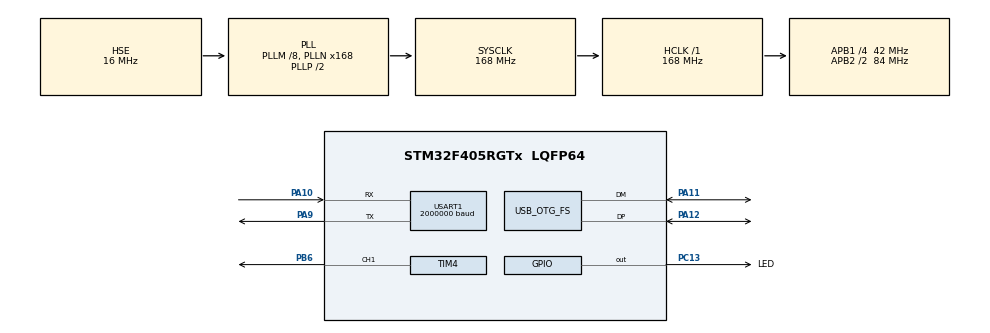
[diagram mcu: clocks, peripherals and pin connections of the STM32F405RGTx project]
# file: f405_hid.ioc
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Dma.Request0=TIM4_CH1
Dma.TIM4_CH1.0.Direction=DMA_MEMORY_TO_PERIPH
Dma.TIM4_CH1.0.FIFOMode=DMA_FIFOMODE_DISABLE
Dma.TIM4_CH1.0.Instance=DMA1_Stream0
Dma.TIM4_CH1.0.MemDataAlignment=DMA_MDATAALIGN_HALFWORD
Dma.TIM4_CH1.0.MemInc=DMA_MINC_ENABLE
Dma.TIM4_CH1.0.Mode=DMA_CIRCULAR
Dma.TIM4_CH1.0.PeriphDataAlignment=DMA_PDATAALIGN_HALFWORD
Dma.TIM4_CH1.0.PeriphInc=DMA_PINC_DISABLE
Dma.TIM4_CH1.0.Priority=DMA_PRIORITY_HIGH
Mcu.Family=STM32F4
Mcu.Name=STM32F405RGTx
Mcu.Package=LQFP64
Mcu.UserConstants=LED_CNT,104
NVIC.DMA1_Stream0_IRQn=true\:0\:0\:false\:false\:true\:false\:true\:true
NVIC.OTG_FS_IRQn=true\:1\:0\:true\:false\:true\:false\:true\:true
NVIC.PriorityGroup=NVIC_PRIORITYGROUP_4
PA10.Mode=Asynchronous
PA10.Signal=USART1_RX
PA11.Mode=Device_Only
PA11.Signal=USB_OTG_FS_DM
PA12.Mode=Device_Only
PA12.Signal=USB_OTG_FS_DP
PA13.Mode=Trace_Asynchronous_SW
PA13.Signal=SYS_JTMS-SWDIO
PA14.Mode=Trace_Asynchronous_SW
PA14.Signal=SYS_JTCK-SWCLK
PA9.Mode=Asynchronous
PA9.Signal=USART1_TX
PB3.Mode=Trace_Asynchronous_SW
PB3.Signal=SYS_JTDO-SWO
PB6.Signal=S_TIM4_CH1
PC13-ANTI_TAMP.GPIO_Label=LED
PC13-ANTI_TAMP.GPIO_ModeDefaultOutputPP=GPIO_MODE_OUTPUT_OD
PC13-ANTI_TAMP.GPIO_PuPd=GPIO_NOPULL
PC13-ANTI_TAMP.PinState=GPIO_PIN_SET
PC13-ANTI_TAMP.Signal=GPIO_Output
PH0-OSC_IN.Mode=HSE-External-Oscillator
PH0-OSC_IN.Signal=RCC_OSC_IN
PH1-OSC_OUT.Mode=HSE-External-Oscillator
PH1-OSC_OUT.Signal=RCC_OSC_OUT
ProjectManager.HeapSize=0x200
ProjectManager.StackSize=0x400
ProjectManager.TargetToolchain=STM32CubeIDE
RCC.48MHZClocksFreq_Value=48000000
RCC.AHBFreq_Value=168000000
RCC.APB1CLKDivider=RCC_HCLK_DIV4
RCC.APB1Freq_Value=42000000
RCC.APB1TimFreq_Value=84000000
RCC.APB2CLKDivider=RCC_HCLK_DIV2
RCC.APB2Freq_Value=84000000
RCC.APB2TimFreq_Value=168000000
RCC.CortexFreq_Value=168000000
RCC.HCLKFreq_Value=168000000
RCC.HSE_VALUE=16000000
RCC.HSI_VALUE=16000000
RCC.LSE_VALUE=32768
RCC.PLLM=8
RCC.PLLN=168
RCC.PLLQ=7
RCC.SYSCLKFreq_VALUE=168000000
RCC.SYSCLKSource=RCC_SYSCLKSOURCE_PLLCLK
RCC.VCOOutputFreq_Value=336000000
SH.S_TIM4_CH1.0=TIM4_CH1,PWM Generation1 CH1
TIM4.Channel-PWM\ Generation1\ CH1=TIM_CHANNEL_1
TIM4.Period=LED_CNT
TIM4.TIM_MasterOutputTrigger=TIM_TRGO_UPDATE
USART1.BaudRate=2000000
USART1.VirtualMode=VM_ASYNC
USB_DEVICE.CLASS_NAME_FS=CUSTOM_HID
USB_DEVICE.MANUFACTURER_STRING-CUSTOM_HID_FS=STM32World
USB_DEVICE.PID_CUSTOMHID_FS=22124 
USB_DEVICE.PRODUCT_STRING_CUSTOMHID_FS=LEDCtl
USB_DEVICE.USBD_CUSTOMHID_OUTREPORT_BUF_SIZE-CUSTOM_HID_FS=6
USB_DEVICE.USBD_CUSTOM_HID_REPORT_DESC_SIZE-CUSTOM_HID_FS=24
USB_DEVICE.USBD_DEBUG_LEVEL-CUSTOM_HID_FS=3
USB_DEVICE.USBD_SELF_POWERED-CUSTOM_HID_FS=0
USB_DEVICE.VirtualMode-CUSTOM_HID_FS=CustomHid
USB_DEVICE.VirtualModeFS=Custom_Hid_FS
USB_OTG_FS.VirtualMode=Device_Only
VP_TIM4_VS_ClockSourceINT.Mode=Internal
VP_USB_DEVICE_VS_USB_DEVICE_CUSTOM_HID_FS.Mode=CUSTOM_HID_FS
board=custom

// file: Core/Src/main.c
/* USER CODE BEGIN Header */
/**
 ******************************************************************************
 * @file           : main.c
 * @brief          : Main program body
 ******************************************************************************
 * @attention
 *
 * Copyright (c) 2025 Lars Boegild Thomsen <lbthomsen@gmail.com>
 * All rights reserved.
 *
 * This software is licensed under terms that can be found in the LICENSE file
 * in the root directory of this software component.
 * If no LICENSE file comes with this software, it is provided AS-IS.
 *
 ******************************************************************************
 */
/* USER CODE END Header */
#include "main.h"
#include "usb_device.h"

/* USER CODE BEGIN Includes */
#include <stdio.h>
#include "usbd_customhid.h"
#include "ws2812.h"
/* USER CODE END Includes */

TIM_HandleTypeDef htim4;
DMA_HandleTypeDef hdma_tim4_ch1;

UART_HandleTypeDef huart1;

/* USER CODE BEGIN PV */
extern USBD_HandleTypeDef hUsbDeviceFS;

ws2812_handleTypeDef ws2812;

uint8_t in_report[64] = { 0 };

uint32_t *now = (uint32_t*) &in_report[0];
uint32_t *loop = (uint32_t*) &in_report[4];

//uint32_t v = 0;
/* USER CODE END PV */

void SystemClock_Config(void);
static void MX_GPIO_Init(void);
static void MX_DMA_Init(void);
static void MX_USART1_UART_Init(void);
static void MX_TIM4_Init(void);

/* USER CODE BEGIN 0 */

// Send stdout to USART1 and stderr to SWO
int _write(int fd, char *ptr, int len) {

    if (fd == 1) {
        HAL_StatusTypeDef hstatus;
        hstatus = HAL_UART_Transmit(&huart1, (uint8_t*) ptr, len, HAL_MAX_DELAY);
        if (hstatus == HAL_OK)
            return len;
        else
            return -1;
    } else if (fd == 2) {
        for (int i = 0; i < len; i++) {
            ITM_SendChar(ptr[i]); /* core_cm4.h */
        }
        return len;
    } else {
        return -1;
    }
    return -1;
}

// Done sending first half of the DMA buffer - this can now safely be updated
void HAL_TIM_PWM_PulseFinishedHalfCpltCallback(TIM_HandleTypeDef *htim) {

    if (htim->Instance == TIM4) {
        ws2812_update_buffer(&ws2812, &ws2812.dma_buffer[0]);
    }

}

// Done sending the second half of the DMA buffer - this can now be safely updated
void HAL_TIM_PWM_PulseFinishedCallback(TIM_HandleTypeDef *htim) {

    if (htim->Instance == TIM4) {
        ws2812_update_buffer(&ws2812, &ws2812.dma_buffer[BUFFER_SIZE]);
    }

}

void CUSTOM_HID_OutEvent_FS_Handler(uint8_t *buffer) {

    //printf("Recv buffer: 0x%02x, 0x%02x 0x%02x 0x%02x 0x%02x 0x%02x\n", buffer[0], buffer[1], buffer[2], buffer[3], buffer[4], buffer[5]);

    switch (buffer[0]) {

    case 1:

        uint16_t led = (uint16_t) buffer[1];
        uint8_t r = buffer[3];
        uint8_t g = buffer[4];
        uint8_t b = buffer[5];

        printf("Setting led %d to %d/%d/%d\n", led, r, g, b);

        setLedValues(&ws2812, led, r, g, b);

        break;

    case 10:

        printf("Zero all leds\n");

        zeroLedValues(&ws2812);

        break;

    default:
        printf("Unsupported function!\n");

    }

}

/* USER CODE END 0 */

int main(void)
{

    /* MCU Configuration--------------------------------------------------------*/

    /* Reset of all peripherals, Initializes the Flash interface and the Systick. */
    HAL_Init();

    /* Configure the system clock */
    SystemClock_Config();

    /* Initialize all configured peripherals */
    MX_GPIO_Init();
    MX_DMA_Init();
    MX_USART1_UART_Init();
    MX_USB_DEVICE_Init();
    MX_TIM4_Init();
    /* USER CODE BEGIN 2 */

    printf("\n\n\n-------------\nStarting USB HID Led Control\n");

    ws2812_init(&ws2812, &htim4, TIM_CHANNEL_1, 64);
    zeroLedValues(&ws2812);

    /* USER CODE END 2 */

    /* Infinite loop */
    /* USER CODE BEGIN WHILE */

    uint32_t next_blink = 500, next_tick = 1000;

    while (1) {

        *now = uwTick;

        if (*now >= next_blink) {
            HAL_GPIO_TogglePin(LED_GPIO_Port, LED_Pin);
            next_blink = *now + 500;
        }

        if (*now >= next_tick) {

            //uint8_t r = USBD_CUSTOM_HID_SendReport(&hUsbDeviceFS, (uint8_t*) in_report, 64);

            printf("Tick %lu (loop=%lu)\n", *now / 1000, *loop);

            *loop = 0;
            next_tick = *now + 1000;

        }

        ++*loop;
        /* USER CODE END WHILE */

    }
}

void SystemClock_Config(void)
{
    RCC_OscInitTypeDef RCC_OscInitStruct = { 0 };
    RCC_ClkInitTypeDef RCC_ClkInitStruct = { 0 };

    /** Configure the main internal regulator output voltage
     */
    __HAL_RCC_PWR_CLK_ENABLE();
    __HAL_PWR_VOLTAGESCALING_CONFIG(PWR_REGULATOR_VOLTAGE_SCALE1);

    /** Initializes the RCC Oscillators according to the specified parameters
     * in the RCC_OscInitTypeDef structure.
     */
    RCC_OscInitStruct.OscillatorType = RCC_OSCILLATORTYPE_HSE;
    RCC_OscInitStruct.HSEState = RCC_HSE_ON;
    RCC_OscInitStruct.PLL.PLLState = RCC_PLL_ON;
    RCC_OscInitStruct.PLL.PLLSource = RCC_PLLSOURCE_HSE;
    RCC_OscInitStruct.PLL.PLLM = 8;
    RCC_OscInitStruct.PLL.PLLN = 168;
    RCC_OscInitStruct.PLL.PLLP = RCC_PLLP_DIV2;
    RCC_OscInitStruct.PLL.PLLQ = 7;
    if (HAL_RCC_OscConfig(&RCC_OscInitStruct) != HAL_OK)
            {
        Error_Handler();
    }

    /** Initializes the CPU, AHB and APB buses clocks
     */
    RCC_ClkInitStruct.ClockType = RCC_CLOCKTYPE_HCLK | RCC_CLOCKTYPE_SYSCLK
            | RCC_CLOCKTYPE_PCLK1 | RCC_CLOCKTYPE_PCLK2;
    RCC_ClkInitStruct.SYSCLKSource = RCC_SYSCLKSOURCE_PLLCLK;
    RCC_ClkInitStruct.AHBCLKDivider = RCC_SYSCLK_DIV1;
    RCC_ClkInitStruct.APB1CLKDivider = RCC_HCLK_DIV4;
    RCC_ClkInitStruct.APB2CLKDivider = RCC_HCLK_DIV2;

    if (HAL_RCC_ClockConfig(&RCC_ClkInitStruct, FLASH_LATENCY_5) != HAL_OK)
            {
        Error_Handler();
    }
}

static void MX_TIM4_Init(void)
{

    TIM_ClockConfigTypeDef sClockSourceConfig = { 0 };
    TIM_MasterConfigTypeDef sMasterConfig = { 0 };
    TIM_OC_InitTypeDef sConfigOC = { 0 };

    htim4.Instance = TIM4;
    htim4.Init.Prescaler = 0;
    htim4.Init.CounterMode = TIM_COUNTERMODE_UP;
    htim4.Init.Period = LED_CNT;
    htim4.Init.ClockDivision = TIM_CLOCKDIVISION_DIV1;
    htim4.Init.AutoReloadPreload = TIM_AUTORELOAD_PRELOAD_DISABLE;
    if (HAL_TIM_Base_Init(&htim4) != HAL_OK)
            {
        Error_Handler();
    }
    sClockSourceConfig.ClockSource = TIM_CLOCKSOURCE_INTERNAL;
    if (HAL_TIM_ConfigClockSource(&htim4, &sClockSourceConfig) != HAL_OK)
            {
        Error_Handler();
    }
    if (HAL_TIM_PWM_Init(&htim4) != HAL_OK)
            {
        Error_Handler();
    }
    sMasterConfig.MasterOutputTrigger = TIM_TRGO_UPDATE;
    sMasterConfig.MasterSlaveMode = TIM_MASTERSLAVEMODE_DISABLE;
    if (HAL_TIMEx_MasterConfigSynchronization(&htim4, &sMasterConfig) != HAL_OK)
            {
        Error_Handler();
    }
    sConfigOC.OCMode = TIM_OCMODE_PWM1;
    sConfigOC.Pulse = 0;
    sConfigOC.OCPolarity = TIM_OCPOLARITY_HIGH;
    sConfigOC.OCFastMode = TIM_OCFAST_DISABLE;
    if (HAL_TIM_PWM_ConfigChannel(&htim4, &sConfigOC, TIM_CHANNEL_1) != HAL_OK)
            {
        Error_Handler();
    }
    HAL_TIM_MspPostInit(&htim4);

}

static void MX_USART1_UART_Init(void)
{

    huart1.Instance = USART1;
    huart1.Init.BaudRate = 2000000;
    huart1.Init.WordLength = UART_WORDLENGTH_8B;
    huart1.Init.StopBits = UART_STOPBITS_1;
    huart1.Init.Parity = UART_PARITY_NONE;
    huart1.Init.Mode = UART_MODE_TX_RX;
    huart1.Init.HwFlowCtl = UART_HWCONTROL_NONE;
    huart1.Init.OverSampling = UART_OVERSAMPLING_16;
    if (HAL_UART_Init(&huart1) != HAL_OK)
            {
        Error_Handler();
    }

}

static void MX_DMA_Init(void)
{

    /* DMA controller clock enable */
    __HAL_RCC_DMA1_CLK_ENABLE();

    /* DMA interrupt init */
    /* DMA1_Stream0_IRQn interrupt configuration */
    HAL_NVIC_SetPriority(DMA1_Stream0_IRQn, 0, 0);
    HAL_NVIC_EnableIRQ(DMA1_Stream0_IRQn);

}

static void MX_GPIO_Init(void)
{
    GPIO_InitTypeDef GPIO_InitStruct = { 0 };

    /* GPIO Ports Clock Enable */
    __HAL_RCC_GPIOC_CLK_ENABLE();
    __HAL_RCC_GPIOH_CLK_ENABLE();
    __HAL_RCC_GPIOA_CLK_ENABLE();
    __HAL_RCC_GPIOB_CLK_ENABLE();

    /*Configure GPIO pin Output Level */
    HAL_GPIO_WritePin(LED_GPIO_Port, LED_Pin, GPIO_PIN_SET);

    /*Configure GPIO pin : LED_Pin */
    GPIO_InitStruct.Pin = LED_Pin;
    GPIO_InitStruct.Mode = GPIO_MODE_OUTPUT_OD;
    GPIO_InitStruct.Pull = GPIO_NOPULL;
    GPIO_InitStruct.Speed = GPIO_SPEED_FREQ_LOW;
    HAL_GPIO_Init(LED_GPIO_Port, &GPIO_InitStruct);

}

void Error_Handler(void)
{
    __disable_irq();
    while (1)
    {
    }
}
